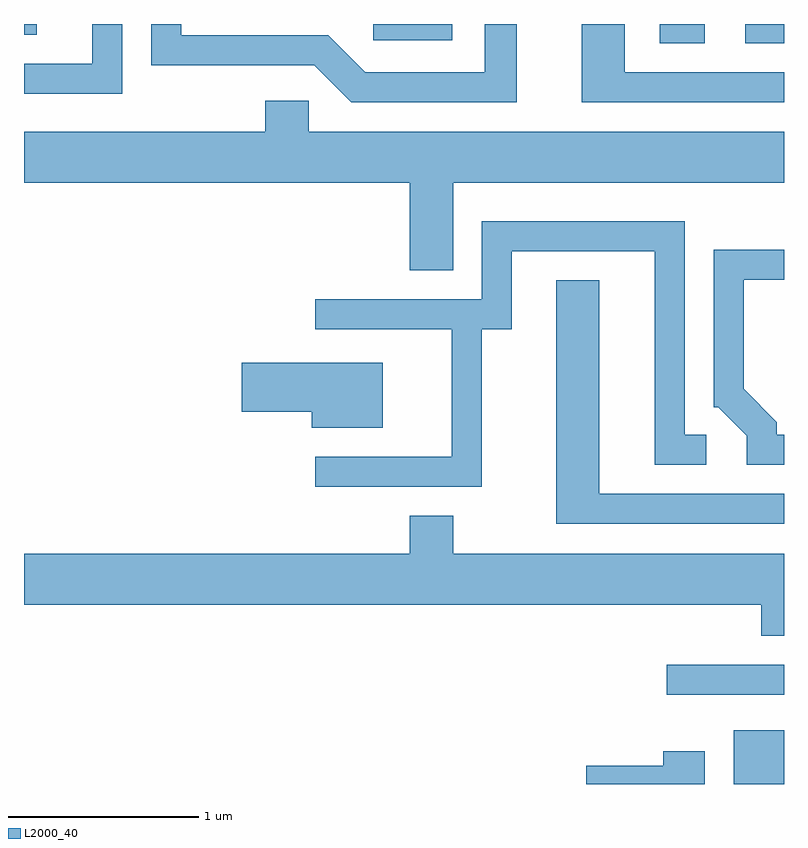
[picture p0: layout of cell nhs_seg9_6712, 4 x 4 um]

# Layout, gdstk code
import gdstk
lib = gdstk.Library(unit=1e-6, precision=1e-09)
def R(c, l, rs):  # rectangles x0, y0, x1, y1
    for r in rs: c.add(gdstk.rectangle(r[:2], r[2:], *l))
def P(c, l, *ps):  # polygons
    for p in ps: c.add(gdstk.Polygon(p, *l))
L2000_40 = (2000, 40)

nhs_seg9_6712 = lib.new_cell('nhs_seg9_6712')
R(nhs_seg9_6712, L2000_40, [(387.346,1986.432,387.611,1986.714), (386.993,1986.901,387.611,1987.059), (386.958,1990.331,387.194,1990.432), (387.408,1990.331,387.611,1990.432), (385.448,1990.346,385.864,1990.432), (383.611,1990.376,383.679,1990.432)])
P(nhs_seg9_6712, L2000_40, [(386.204,1990.432),(386.036,1990.432),(386.036,1990.179),(385.407,1990.179),(385.212,1990.374),(384.439,1990.374),(384.439,1990.432),(384.281,1990.432),(384.281,1990.216),(385.139,1990.216),(385.334,1990.021),(386.204,1990.021)],
  [(387.611,1990.179),(386.774,1990.179),(386.774,1990.432),(386.546,1990.432),(386.546,1990.021),(387.611,1990.021)],
  [(384.129,1990.432),(383.971,1990.432),(383.971,1990.224),(383.611,1990.224),(383.611,1990.066),(384.129,1990.066)],
  [(385.869,1989.596),(387.611,1989.596),(387.611,1989.864),(385.109,1989.864),(385.109,1990.029),(384.881,1990.029),(384.881,1989.864),(383.611,1989.864),(383.611,1989.596),(385.641,1989.596),(385.641,1989.136),(385.869,1989.136)],
  [(386.019,1988.826),(386.179,1988.826),(386.179,1989.236),(386.931,1989.236),(386.931,1988.111),(387.203,1988.111),(387.203,1988.269),(387.089,1988.269),(387.089,1989.394),(386.021,1989.394),(386.021,1988.984),(385.143,1988.984),(385.143,1988.826),(385.861,1988.826),(385.861,1988.154),(385.143,1988.154),(385.143,1987.996),(386.019,1987.996)],
  [(387.611,1988.269),(387.574,1988.269),(387.574,1988.337),(387.399,1988.512),(387.399,1989.086),(387.611,1989.086),(387.611,1989.244),(387.241,1989.244),(387.241,1988.416),(387.264,1988.416),(387.416,1988.264),(387.416,1988.111),(387.611,1988.111)],
  [(387.611,1987.959),(386.639,1987.959),(386.639,1989.084),(386.411,1989.084),(386.411,1987.801),(387.611,1987.801)],
  [(385.499,1988.649),(384.756,1988.649),(384.756,1988.391),(385.126,1988.391),(385.126,1988.306),(385.499,1988.306)],
  [(387.611,1987.644),(385.869,1987.644),(385.869,1987.844),(385.641,1987.844),(385.641,1987.644),(383.611,1987.644),(383.611,1987.376),(387.491,1987.376),(387.491,1987.211),(387.611,1987.211)],
  [(387.194,1986.604),(386.976,1986.604),(386.976,1986.529),(386.571,1986.529),(386.571,1986.432),(387.194,1986.432)])

lib.write_gds('nhs_seg9_6712.gds')
